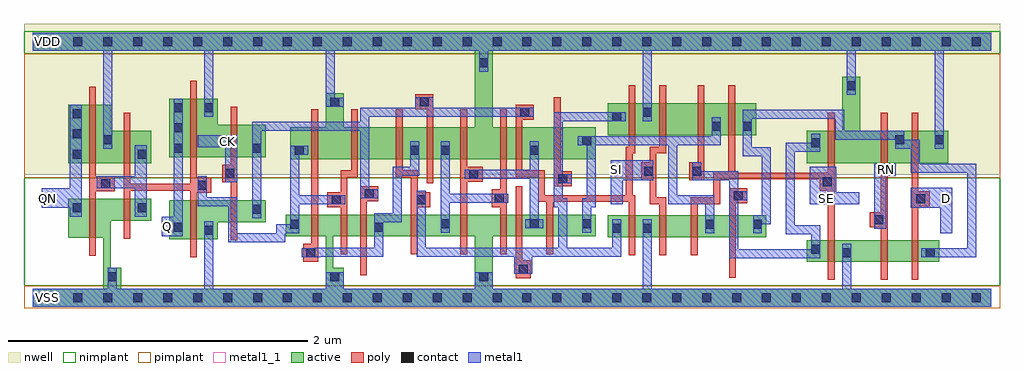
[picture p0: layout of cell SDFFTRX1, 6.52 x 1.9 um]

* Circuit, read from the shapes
.subckt SDFFTRX1 CK D Q QN RN SE SI VDD VSS
M1 VSS n1 QN VSS nfet w=0.26u l=0.045u
M2 n1 n2 VSS VSS nfet w=0.145u l=0.045u
M3 VSS n2 Q VSS nfet w=0.26u l=0.045u
M4 n3 CK VSS VSS nfet w=0.145u l=0.045u
M5 VSS n4 n2 VSS nfet w=0.145u l=0.045u
M6 n5 n2 VSS VSS nfet w=0.145u l=0.045u
M7 n4 n3 n5 VSS nfet w=0.145u l=0.045u
M8 n6 n7 n4 VSS nfet w=0.145u l=0.045u
M9 VSS n8 n6 VSS nfet w=0.145u l=0.045u
M10 n9 n6 VSS VSS nfet w=0.145u l=0.045u
M11 n8 n7 n9 VSS nfet w=0.145u l=0.045u
M12 n10 n3 n8 VSS nfet w=0.145u l=0.045u
M13 VSS n3 n7 VSS nfet w=0.145u l=0.045u
M14 n11 SI VSS VSS nfet w=0.145u l=0.045u
M15 n10 SE n11 VSS nfet w=0.145u l=0.045u
M16 n12 n13 n10 VSS nfet w=0.145u l=0.045u
M17 VSS SE n13 VSS nfet w=0.145u l=0.045u
M18 n14 RN VSS VSS nfet w=0.145u l=0.045u
M19 n12 D n14 VSS nfet w=0.145u l=0.045u
M20 VDD n1 QN VDD pfet w=0.39u l=0.045u
M21 n1 n2 VDD VDD pfet w=0.215u l=0.045u
M22 VDD n2 Q VDD pfet w=0.39u l=0.045u
M23 n3 CK VDD VDD pfet w=0.215u l=0.045u
M24 VDD n4 n2 VDD pfet w=0.215u l=0.045u
M25 n15 n2 VDD VDD pfet w=0.215u l=0.045u
M26 n4 n7 n15 VDD pfet w=0.215u l=0.045u
M27 n6 n3 n4 VDD pfet w=0.215u l=0.045u
M28 VDD n8 n6 VDD pfet w=0.215u l=0.045u
M29 n16 n6 VDD VDD pfet w=0.215u l=0.045u
M30 n8 n3 n16 VDD pfet w=0.215u l=0.045u
M31 n10 n7 n8 VDD pfet w=0.215u l=0.045u
M32 VDD n3 n7 VDD pfet w=0.215u l=0.045u
M33 n17 SI VDD VDD pfet w=0.215u l=0.045u
M34 n10 n13 n17 VDD pfet w=0.215u l=0.045u
M35 n12 SE n10 VDD pfet w=0.215u l=0.045u
M36 VDD SE n13 VDD pfet w=0.215u l=0.045u
M37 n12 RN VDD VDD pfet w=0.215u l=0.045u
M38 VDD D n12 VDD pfet w=0.215u l=0.045u
.ends

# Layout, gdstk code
import gdstk
lib = gdstk.Library(unit=1e-6, precision=5e-10)
def R(c, l, rs):  # rectangles x0, y0, x1, y1
    for r in rs: c.add(gdstk.rectangle(r[:2], r[2:], *l))
def A(c, l, x, y, w, h, nx, ny, dx, dy):  # array of equal rectangles
    R(c, l, [(x+i*dx, y+j*dy, x+i*dx+w, y+j*dy+h) for i in range(nx) for j in range(ny)])
def P(c, l, *ps):  # polygons
    for p in ps: c.add(gdstk.Polygon(p, *l))
active = (1, 0)
nwell = (2, 0)
poly = (3, 0)
nimplant = (4, 0)
pimplant = (5, 0)
contact = (6, 0)
metal1 = (7, 0)
metal1_1 = (7, 1)

sdfftrx1 = lib.new_cell('SDFFTRX1')
R(sdfftrx1, active, [(5.17,0.24,6.055,0.385), (3.84,0.405,4.9,0.55), (3.84,1.085,4.83,1.3)])
P(sdfftrx1, active, [(0,1.77),(6.4,1.77),(6.4,1.65),(3.07,1.65),(3.07,1.14),(3.76,1.14),(3.76,0.925),(1.72,0.925),(1.72,1.14),(1.955,1.14),(1.955,1.365),(2.075,1.365),(2.075,1.14),(2.95,1.14),(2.95,1.65),(0,1.65)],
  [(0.91,1.33),(1.235,1.33),(1.235,1.155),(1.555,1.155),(1.555,0.94),(0.91,0.94)],
  [(0.235,1.29),(0.52,1.29),(0.52,1.115),(0.79,1.115),(0.79,0.9),(0.235,0.9)],
  [(5.405,1.475),(5.525,1.475),(5.525,1.115),(6.115,1.115),(6.115,0.9),(5.17,0.9),(5.17,1.115),(5.405,1.115)],
  [(0.235,0.66),(0.79,0.66),(0.79,0.515),(0.52,0.515),(0.52,0.2),(0.59,0.2),(0.59,0.06),(1.955,0.06),(1.955,0.41),(2.005,0.41),(2.005,0.2),(2.075,0.2),(2.075,0.06),(2.95,0.06),(2.95,0.41),(1.69,0.41),(1.69,0.555),(3.76,0.555),(3.76,0.41),(3.07,0.41),(3.07,0.06),(6.4,0.06),(6.4,-0.06),(0,-0.06),(0,0.06),(0.47,0.06),(0.47,0.4),(0.235,0.4)],
  [(0.91,0.65),(1.555,0.65),(1.555,0.505),(1.235,0.505),(1.235,0.39),(0.91,0.39)])
R(sdfftrx1, nwell, [(-0.06,0.82,6.46,1.83)])
P(sdfftrx1, poly, [(0.605,1.235),(0.65,1.235),(0.65,0.76),(1.05,0.76),(1.05,1.45),(1.095,1.45),(1.095,0.8),(1.19,0.8),(1.19,0.7),(1.095,0.7),(1.095,0.27),(1.05,0.27),(1.05,0.715),(0.65,0.715),(0.65,0.395),(0.605,0.395)],
  [(0.375,1.41),(0.42,1.41),(0.42,0.81),(0.545,0.81),(0.545,0.71),(0.42,0.71),(0.42,0.28),(0.375,0.28)],
  [(1.32,1.275),(1.365,1.275),(1.365,0.385),(1.32,0.385),(1.32,0.77),(1.265,0.77),(1.265,0.89),(1.32,0.89)],
  [(2.555,1.36),(2.675,1.36),(2.675,0.765),(2.63,0.765),(2.63,1.26),(2.555,1.26)],
  [(1.86,1.26),(1.905,1.26),(1.905,0.24),(1.805,0.24),(1.805,0.36),(1.86,0.36)],
  [(2.125,1.26),(2.17,1.26),(2.17,0.805),(2.1,0.805),(2.1,0.29),(2.055,0.29),(2.055,0.605),(1.965,0.605),(1.965,0.705),(2.055,0.705),(2.055,0.85),(2.125,0.85)],
  [(2.425,1.26),(2.47,1.26),(2.47,0.85),(2.57,0.85),(2.57,0.705),(2.655,0.705),(2.655,0.605),(2.57,0.605),(2.57,0.29),(2.525,0.29),(2.525,0.805),(2.425,0.805)],
  [(2.855,1.26),(2.9,1.26),(2.9,0.875),(3.005,0.875),(3.005,0.775),(2.9,0.775),(2.9,0.29),(2.855,0.29)],
  [(3.225,1.29),(3.345,1.29),(3.345,1.19),(3.27,1.19),(3.27,0.85),(3.42,0.85),(3.42,0.685),(3.96,0.685),(3.96,1.01),(3.98,1.01),(3.98,1.42),(4.025,1.42),(4.025,0.965),(4.005,0.965),(4.005,0.685),(4.025,0.685),(4.025,0.285),(3.98,0.285),(3.98,0.64),(3.475,0.64),(3.475,0.29),(3.43,0.29),(3.43,0.64),(3.375,0.64),(3.375,0.805),(3.225,0.805)],
  [(3.12,1.26),(3.165,1.26),(3.165,0.29),(3.12,0.29),(3.12,0.605),(3.065,0.605),(3.065,0.725),(3.12,0.725)],
  [(4.185,1.42),(4.23,1.42),(4.23,0.965),(4.165,0.965),(4.165,0.67),(4.23,0.67),(4.23,0.285),(4.185,0.285),(4.185,0.625),(4.12,0.625),(4.12,0.785),(4.065,0.785),(4.065,0.905),(4.12,0.905),(4.12,1.01),(4.185,1.01)],
  [(4.44,1.42),(4.485,1.42),(4.485,0.785),(4.385,0.785),(4.385,0.905),(4.44,0.905)],
  [(4.645,1.42),(4.69,1.42),(4.69,0.835),(5.31,0.835),(5.31,1.235),(5.355,1.235),(5.355,0.12),(5.31,0.12),(5.31,0.715),(5.255,0.715),(5.255,0.79),(4.59,0.79),(4.59,0.625),(4.44,0.625),(4.44,0.285),(4.395,0.285),(4.395,0.67),(4.545,0.67),(4.545,0.835),(4.645,0.835)],
  [(3.48,1.34),(3.525,1.34),(3.525,0.845),(3.6,0.845),(3.6,0.745),(3.48,0.745)],
  [(5.665,1.235),(5.71,1.235),(5.71,0.12),(5.665,0.12),(5.665,0.47),(5.59,0.47),(5.59,0.57),(5.665,0.57)],
  [(5.87,1.235),(5.915,1.235),(5.915,0.71),(5.99,0.71),(5.99,0.61),(5.915,0.61),(5.915,0.12),(5.87,0.12)],
  [(2.185,0.745),(2.305,0.745),(2.305,0.645),(2.23,0.645),(2.23,0.15),(2.185,0.15)],
  [(3.225,0.745),(3.27,0.745),(3.27,0.25),(3.325,0.25),(3.325,0.13),(3.225,0.13)],
  [(4.65,0.73),(4.77,0.73),(4.77,0.63),(4.695,0.63),(4.695,0.135),(4.65,0.135)])
R(sdfftrx1, nimplant, [(-0.06,0.08,6.46,0.8), (-0.06,1.63,6.46,1.78)])
R(sdfftrx1, pimplant, [(-0.06,-0.07,6.46,0.08), (-0.06,0.8,6.46,1.63)])
A(sdfftrx1, contact, 0.07, -0.03, 0.06, 0.06, 32, 2, 0.2, 1.71)
A(sdfftrx1, contact, 0.265, 0.93, 0.06, 0.06, 1, 3, 0, 0.135)
A(sdfftrx1, contact, 0.94, 0.97, 0.06, 0.06, 1, 3, 0, 0.135)
R(sdfftrx1, contact, [(0.5,0.11,0.56,0.17), (1.985,0.11,2.045,0.17), (2.98,0.11,3.04,0.17), (3.245,0.16,3.305,0.22), (1.825,0.27,1.885,0.33), (5.405,0.27,5.465,0.33), (5.965,0.27,6.025,0.33), (5.2,0.295,5.26,0.355), (1.145,0.42,1.205,0.48), (3.87,0.435,3.93,0.495), (4.075,0.435,4.135,0.495), (0.94,0.44,1,0.5), (2.28,0.44,2.34,0.5), (1.72,0.46,1.78,0.52), (4.49,0.46,4.55,0.52), (4.81,0.46,4.87,0.52), (2.725,0.465,2.785,0.525), (3.32,0.465,3.38,0.525), (3.67,0.465,3.73,0.525), (5.62,0.49,5.68,0.55), (1.465,0.56,1.525,0.62), (0.265,0.57,0.325,0.63), (0.7,0.57,0.76,0.63), (1.995,0.625,2.055,0.685), (2.565,0.625,2.625,0.685), (5.9,0.63,5.96,0.69), (3.085,0.635,3.145,0.695), (4.68,0.65,4.74,0.71), (2.215,0.665,2.275,0.725), (1.1,0.72,1.16,0.78), (0.455,0.73,0.515,0.79), (5.275,0.745,5.335,0.805), (3.51,0.765,3.57,0.825), (2.915,0.795,2.975,0.855), (1.285,0.8,1.345,0.86), (4.085,0.815,4.145,0.875), (4.405,0.815,4.465,0.875), (0.7,0.93,0.76,0.99), (1.75,0.955,1.81,1.015), (2.52,0.955,2.58,1.015), (2.725,0.955,2.785,1.015), (3.32,0.955,3.38,1.015), (1.465,0.97,1.525,1.03), (5.2,1.005,5.26,1.065), (3.67,1.02,3.73,1.08), (0.47,1.025,0.53,1.085), (5.76,1.025,5.82,1.085), (6.025,1.025,6.085,1.085), (4.535,1.115,4.595,1.175), (4.74,1.115,4.8,1.175), (3.87,1.18,3.93,1.24), (3.255,1.21,3.315,1.27), (4.075,1.21,4.135,1.27), (1.145,1.24,1.205,1.3), (1.985,1.275,2.045,1.335), (2.585,1.28,2.645,1.34), (5.435,1.385,5.495,1.445), (2.98,1.54,3.04,1.6)])
P(sdfftrx1, metal1, [(0,1.77),(6.4,1.77),(6.4,1.65),(6.085,1.65),(6.085,0.995),(6.025,0.995),(6.025,1.65),(5.495,1.65),(5.495,1.355),(5.435,1.355),(5.435,1.65),(4.135,1.65),(4.135,1.18),(4.075,1.18),(4.075,1.65),(3.04,1.65),(3.04,1.51),(2.98,1.51),(2.98,1.65),(2.015,1.65),(2.015,1.335),(2.075,1.335),(2.075,1.275),(1.955,1.275),(1.955,1.65),(1.205,1.65),(1.205,1.21),(1.145,1.21),(1.145,1.65),(0.53,1.65),(0.53,0.995),(0.47,0.995),(0.47,1.65),(0,1.65)],
  [(0.245,1.29),(0.325,1.29),(0.325,0.54),(0.245,0.54),(0.245,0.6),(0.06,0.6),(0.06,0.73),(0.245,0.73)],
  [(0.94,1.33),(1,1.33),(1,0.41),(0.86,0.41),(0.86,0.54),(0.94,0.54)],
  [(2.555,1.34),(2.675,1.34),(2.675,1.27),(3.345,1.27),(3.345,1.21),(2.245,1.21),(2.245,0.725),(2.305,0.725),(2.305,0.665),(2.185,0.665),(2.185,1.115),(1.525,1.115),(1.525,0.53),(1.465,0.53),(1.465,1.175),(2.185,1.175),(2.185,1.27),(2.555,1.27)],
  [(0.68,1.02),(0.76,1.02),(0.76,0.54),(0.68,0.54),(0.68,0.73),(0.425,0.73),(0.425,0.81),(0.68,0.81)],
  [(1.1,1.085),(1.365,1.085),(1.365,0.77),(1.285,0.77),(1.285,1.005),(1.1,1.005)],
  [(1.72,1.015),(1.84,1.015),(1.84,0.955),(1.78,0.955),(1.78,0.685),(2.085,0.685),(2.085,0.625),(1.78,0.625),(1.78,0.43),(1.685,0.43),(1.685,0.37),(1.305,0.37),(1.305,0.61),(1.1,0.61),(1.1,0.81),(1.16,0.81),(1.16,0.67),(1.365,0.67),(1.365,0.43),(1.625,0.43),(1.625,0.49),(1.72,0.49)],
  [(0.5,0.2),(0.56,0.2),(0.56,0.06),(1.145,0.06),(1.145,0.51),(1.205,0.51),(1.205,0.06),(1.955,0.06),(1.955,0.17),(2.075,0.17),(2.075,0.06),(2.95,0.06),(2.95,0.17),(3.07,0.17),(3.07,0.06),(4.075,0.06),(4.075,0.525),(4.135,0.525),(4.135,0.06),(5.405,0.06),(5.405,0.36),(5.465,0.36),(5.465,0.06),(6.4,0.06),(6.4,-0.06),(0,-0.06),(0,0.06),(0.5,0.06)],
  [(3.48,1.24),(3.96,1.24),(3.96,1.18),(3.54,1.18),(3.54,0.825),(3.6,0.825),(3.6,0.765),(3.54,0.765),(3.54,0.665),(3.57,0.665),(3.57,0.335),(3.87,0.335),(3.87,0.525),(3.93,0.525),(3.93,0.275),(3.335,0.275),(3.335,0.16),(3.215,0.16),(3.215,0.275),(2.565,0.275),(2.565,0.715),(2.625,0.715),(2.625,0.335),(3.51,0.335),(3.51,0.605),(3.48,0.605)],
  [(4.535,1.205),(4.595,1.205),(4.595,1.02),(4.305,1.02),(4.305,0.685),(4.55,0.685),(4.55,0.43),(4.49,0.43),(4.49,0.625),(4.245,0.625),(4.245,1.02),(3.76,1.02),(3.76,0.605),(3.73,0.605),(3.73,0.435),(3.67,0.435),(3.67,0.665),(3.7,0.665),(3.7,1.02),(3.64,1.02),(3.64,1.08),(4.535,1.08)],
  [(2.52,1.045),(2.58,1.045),(2.58,0.815),(2.465,0.815),(2.465,0.505),(2.34,0.505),(2.34,0.275),(1.915,0.275),(1.915,0.27),(1.795,0.27),(1.795,0.33),(1.88,0.33),(1.88,0.335),(2.28,0.335),(2.28,0.565),(2.405,0.565),(2.405,0.875),(2.52,0.875)],
  [(2.725,1.045),(2.785,1.045),(2.785,0.695),(3.175,0.695),(3.175,0.635),(2.785,0.635),(2.785,0.435),(2.725,0.435)],
  [(3.32,1.045),(3.38,1.045),(3.38,0.525),(3.41,0.525),(3.41,0.465),(3.29,0.465),(3.29,0.525),(3.32,0.525),(3.32,0.795),(2.885,0.795),(2.885,0.855),(3.32,0.855)],
  [(4.74,1.255),(5.42,1.255),(5.42,1.115),(5.82,1.115),(5.82,1.055),(5.925,1.055),(5.925,0.895),(6.3,0.895),(6.3,0.27),(5.935,0.27),(5.935,0.33),(6.24,0.33),(6.24,0.835),(5.865,0.835),(5.865,0.995),(5.76,0.995),(5.76,1.055),(5.36,1.055),(5.36,1.195),(4.8,1.195),(4.8,1.005),(4.93,1.005),(4.93,0.49),(4.87,0.49),(4.87,0.43),(4.81,0.43),(4.81,0.55),(4.87,0.55),(4.87,0.945),(4.74,0.945)],
  [(5.2,1.095),(5.26,1.095),(5.26,0.975),(5.09,0.975),(5.09,0.485),(5.26,0.485),(5.26,0.265),(4.65,0.265),(4.65,0.785),(4.405,0.785),(4.405,0.905),(4.465,0.905),(4.465,0.845),(4.71,0.845),(4.71,0.71),(4.77,0.71),(4.77,0.65),(4.71,0.65),(4.71,0.325),(5.2,0.325),(5.2,0.425),(5.03,0.425),(5.03,1.035),(5.2,1.035)],
  [(3.86,0.92),(4.145,0.92),(4.145,0.785),(3.94,0.785),(3.94,0.625),(3.86,0.625)],
  [(5.62,0.895),(5.765,0.895),(5.765,0.815),(5.7,0.815),(5.7,0.46),(5.62,0.46)],
  [(5.19,0.875),(5.365,0.875),(5.365,0.705),(5.52,0.705),(5.52,0.625),(5.19,0.625)],
  [(5.865,0.735),(6.14,0.735),(6.14,0.43),(6.06,0.43),(6.06,0.6),(5.865,0.6)])
R(sdfftrx1, metal1_1, [(0.06,-0.04,0.14,0.04), (0.86,0.435,0.94,0.515), (0.06,0.625,0.14,0.705), (5.26,0.625,5.34,0.705), (6.06,0.625,6.14,0.705), (3.86,0.815,3.94,0.895), (5.66,0.815,5.74,0.895), (1.26,1.005,1.34,1.085), (0.06,1.67,0.14,1.75)])
sdfftrx1.add(gdstk.Label('Q', (0.9,0.475), layer=7, texttype=1))
sdfftrx1.add(gdstk.Label('QN', (0.1,0.665), layer=7, texttype=1))
sdfftrx1.add(gdstk.Label('D', (6.1,0.665), layer=7, texttype=1))
sdfftrx1.add(gdstk.Label('RN', (5.7,0.855), layer=7, texttype=1))
sdfftrx1.add(gdstk.Label('SE', (5.3,0.665), layer=7, texttype=1))
sdfftrx1.add(gdstk.Label('SI', (3.9,0.855), layer=7, texttype=1))
sdfftrx1.add(gdstk.Label('CK', (1.3,1.045), layer=7, texttype=1))
sdfftrx1.add(gdstk.Label('VDD', (0.1,1.71), layer=7, texttype=1))
sdfftrx1.add(gdstk.Label('VSS', (0.1,0), layer=7, texttype=1))
sdfftrx1.add(gdstk.Label('SDFFTRX1', (0,0), layer=63, texttype=0))

lib.write_gds('SDFFTRX1.gds')
